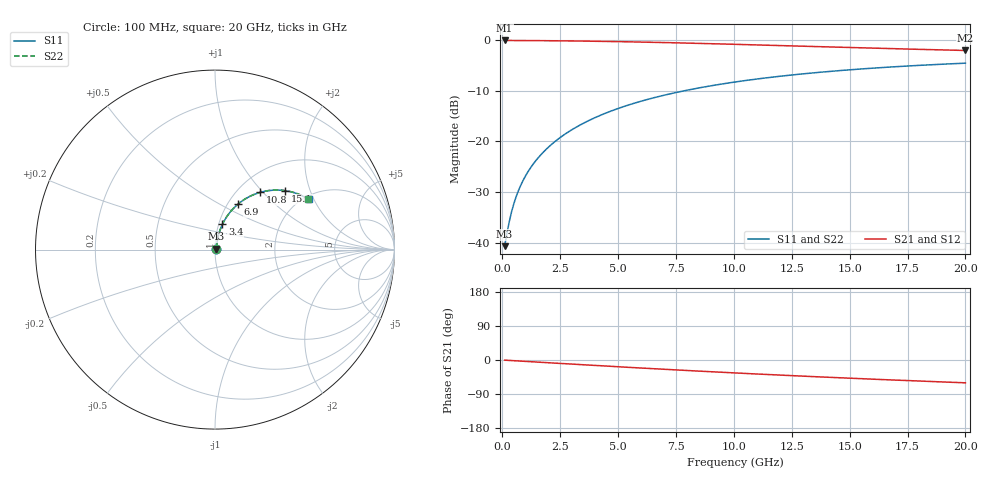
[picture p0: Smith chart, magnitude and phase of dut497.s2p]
! Touchstone file exported from HFSS 2026.1.0
!  File:  C:/ffzhzh/LocalFiles/Ansys_Project_Files/temp_train_BSMRDL_497_1783014139_46388.aedt
!  Generated:  01:44:06 AM Jul  3, 2026
!  Design:  BSMRDL
!  Project:  temp_train_BSMRDL_497_1783014139_46388
! Variables:
!  h_bsmrdl = 2.76um
!  h_ox = 20um
!  h_rdl = 5um
!  h_sub = 80um
!  h_tmrdl = 5um
!  h_tsv = 80um
!  h_via = 3um
!  l_bsmrdl = 890.72um
!  l_sub = 1290.72um
!  l_tmrdl = 200um
!  m_sub = 200um
!  pitch = 47.15um
!  r_tsv = 6um
!  s_tmrdl = 10um
!  w_bsmrdl = 14.28um
!  w_sub = 500um
!  w_tmrdl = 12um
!  x_tsv_center1 = 206um
!  x_tsv_center2 = 1111um
!  x_tsv_center3 = 1323um
!  x_tsv_center4 = 2228um
!  x_tsv_center5 = 2440um
!  x_tsv_center6 = 3345um
# GHz S MA R 50.000000
! Terminal data exported
! Port[1] = BSM_RDL1_1_T1
! Port[2] = BSM_RDL1_1_T2
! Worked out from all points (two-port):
!   200 points, 100 MHz to 20 GHz, reference 50 ohm
!   highest |S21| = -0.07 dB at 100 MHz (marker M1); lowest = -2.0 dB at 20 GHz (marker M2)
!   |S21| within 3 dB of the highest: start of sweep to end of sweep
!   lowest |S11| = -40.7 dB at 100 MHz (marker M3), VSWR 1.02, Z = 50.8 + j0.466 ohm
!   |S11| at or under -10 dB: start of sweep to 7.863 GHz
!   |S22| runs from -40.7 to -4.6 dB; largest |S21 - S12| = 4e-15
!   S11 on the Smith chart (normalised r, x): 100 MHz: 1.02, +0.01; 3.4 GHz: 1.04, +0.30; 6.9 GHz: 1.11, +0.61; 10.8 GHz: 1.26, +0.97; 15.1 GHz: 1.55, +1.37; 20 GHz: 2.11, +1.82
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0.1  0.009241 29.8  0.992 -0.4  0.992 -0.4  0.009241 29.8
! Gamma 0 0 0 0
! Port Impedance 50 0 50 0
0.3  0.01608 58.0  0.9917 -1.1  0.9917 -1.1  0.01608 58.0
0.4  0.02015 63.8  0.9914 -1.5  0.9914 -1.5  0.02015 63.8
0.5  0.02432 67.4  0.9911 -1.9  0.9911 -1.9  0.02432 67.4
0.6  0.02853 69.9  0.9909 -2.2  0.9909 -2.2  0.02853 69.9
0.8  0.037 72.9  0.9903 -3.0  0.9903 -3.0  0.037 72.9
1.1  0.04974 75.1  0.9895 -4.0  0.9895 -4.0  0.04974 75.1
1.6  0.07103 76.3  0.9878 -5.8  0.9878 -5.8  0.07102 76.3
2.1  0.09228 76.2  0.9859 -7.6  0.9859 -7.6  0.09228 76.2
2.7  0.1176 75.3  0.9829 -9.8  0.9829 -9.8  0.1176 75.3
3.4  0.1468 73.6  0.9787 -12.3  0.9787 -12.3  0.1468 73.7
3.5  0.1509 73.4  0.9781 -12.6  0.9781 -12.6  0.1509 73.4
5  0.2113 69.1  0.9662 -17.8  0.9662 -17.8  0.2113 69.1
6.8  0.279 63.6  0.9481 -23.9  0.9481 -23.9  0.279 63.6
6.9  0.2826 63.3  0.947 -24.2  0.947 -24.2  0.2826 63.3
8.4  0.3342 58.7  0.9294 -29.1  0.9294 -29.1  0.3342 58.7
10.1  0.3873 53.6  0.908 -34.3  0.908 -34.3  0.3873 53.7
10.8  0.4075 51.6  0.899 -36.4  0.899 -36.4  0.4075 51.7
13.4  0.4741 44.3  0.8653 -43.8  0.8653 -43.8  0.4741 44.5
15.1  0.511 39.9  0.844 -48.3  0.844 -48.3  0.5111 40.1
16.7  0.5414 35.9  0.825 -52.4  0.825 -52.4  0.5414 36.1
20  0.5919 28.2  0.7901 -60.2  0.7901 -60.2  0.5919 28.4
